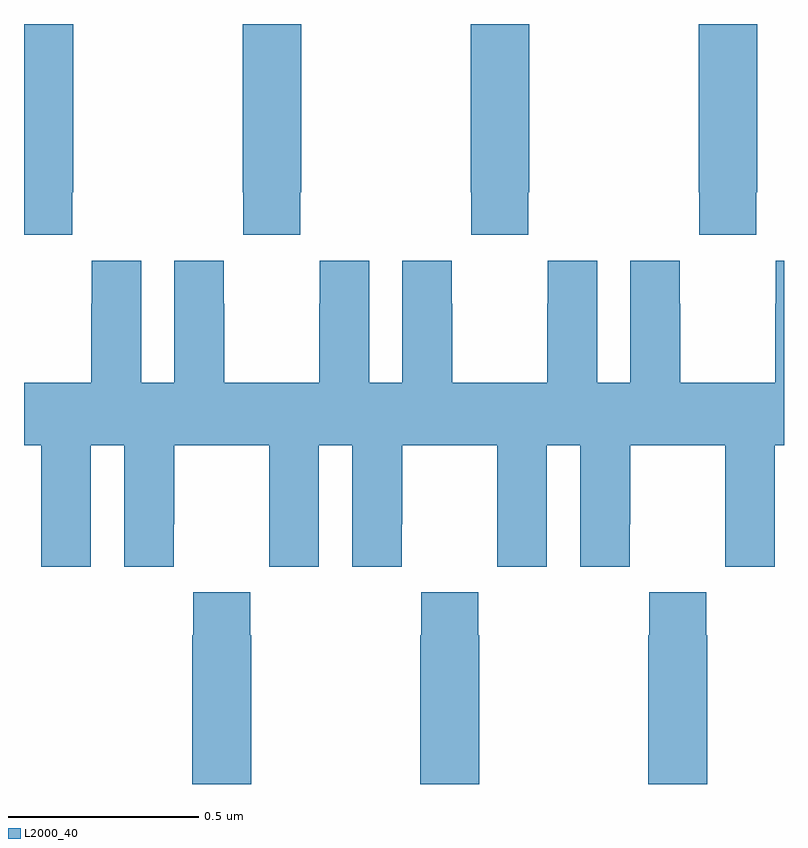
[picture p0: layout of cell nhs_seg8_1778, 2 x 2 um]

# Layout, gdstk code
import gdstk
lib = gdstk.Library(unit=1e-6, precision=1e-09)
def P(c, l, *ps):  # polygons
    for p in ps: c.add(gdstk.Polygon(p, *l))
L2000_40 = (2000, 40)

nhs_seg8_1778 = lib.new_cell('nhs_seg8_1778')
P(nhs_seg8_1778, L2000_40, [(135.175,1158.457),(135.177,1158.457),(135.177,1158.345),(135.327,1158.345),(135.327,1158.457),(135.33,1158.457),(135.33,1158.9),(135.175,1158.9)],
  [(134.727,1158.457),(134.73,1158.457),(134.73,1158.9),(134.575,1158.9),(134.575,1158.457),(134.577,1158.457),(134.577,1158.345),(134.727,1158.345)],
  [(134.127,1158.457),(134.13,1158.457),(134.13,1158.9),(134,1158.9),(134,1158.345),(134.127,1158.345)],
  [(135.927,1158.457),(135.93,1158.457),(135.93,1158.9),(135.775,1158.9),(135.775,1158.457),(135.777,1158.457),(135.777,1158.345),(135.927,1158.345)],
  [(134,1157.792),(134.045,1157.792),(134.045,1157.584),(134.046,1157.584),(134.046,1157.472),(134.176,1157.472),(134.176,1157.792),(134.264,1157.792),(134.264,1157.472),(134.394,1157.472),(134.394,1157.584),(134.395,1157.584),(134.395,1157.792),(134.645,1157.792),(134.645,1157.584),(134.646,1157.584),(134.646,1157.472),(134.776,1157.472),(134.776,1157.792),(134.864,1157.792),(134.864,1157.472),(134.994,1157.472),(134.994,1157.584),(134.995,1157.584),(134.995,1157.792),(135.245,1157.792),(135.245,1157.584),(135.246,1157.584),(135.246,1157.472),(135.376,1157.472),(135.376,1157.792),(135.464,1157.792),(135.464,1157.472),(135.594,1157.472),(135.594,1157.584),(135.595,1157.584),(135.595,1157.792),(135.845,1157.792),(135.845,1157.584),(135.846,1157.584),(135.846,1157.472),(135.976,1157.472),(135.976,1157.792),(136,1157.792),(136,1158.277),(135.978,1158.277),(135.978,1158.164),(135.977,1158.164),(135.977,1157.956),(135.727,1157.956),(135.727,1158.164),(135.726,1158.164),(135.726,1158.277),(135.596,1158.277),(135.596,1157.956),(135.508,1157.956),(135.508,1158.277),(135.378,1158.277),(135.378,1158.164),(135.377,1158.164),(135.377,1157.956),(135.127,1157.956),(135.127,1158.164),(135.126,1158.164),(135.126,1158.277),(134.996,1158.277),(134.996,1157.956),(134.908,1157.956),(134.908,1158.277),(134.778,1158.277),(134.778,1158.164),(134.777,1158.164),(134.777,1157.956),(134.527,1157.956),(134.527,1158.164),(134.526,1158.164),(134.526,1158.277),(134.396,1158.277),(134.396,1157.956),(134.308,1157.956),(134.308,1158.277),(134.178,1158.277),(134.178,1158.164),(134.177,1158.164),(134.177,1157.956),(134,1157.956)],
  [(135.045,1157.291),(135.043,1157.291),(135.043,1156.9),(135.198,1156.9),(135.198,1157.291),(135.195,1157.291),(135.195,1157.404),(135.045,1157.404)],
  [(134.598,1157.291),(134.595,1157.291),(134.595,1157.404),(134.445,1157.404),(134.445,1157.291),(134.443,1157.291),(134.443,1156.9),(134.598,1156.9)],
  [(135.798,1157.291),(135.795,1157.291),(135.795,1157.404),(135.645,1157.404),(135.645,1157.291),(135.643,1157.291),(135.643,1156.9),(135.798,1156.9)])

lib.write_gds('nhs_seg8_1778.gds')
